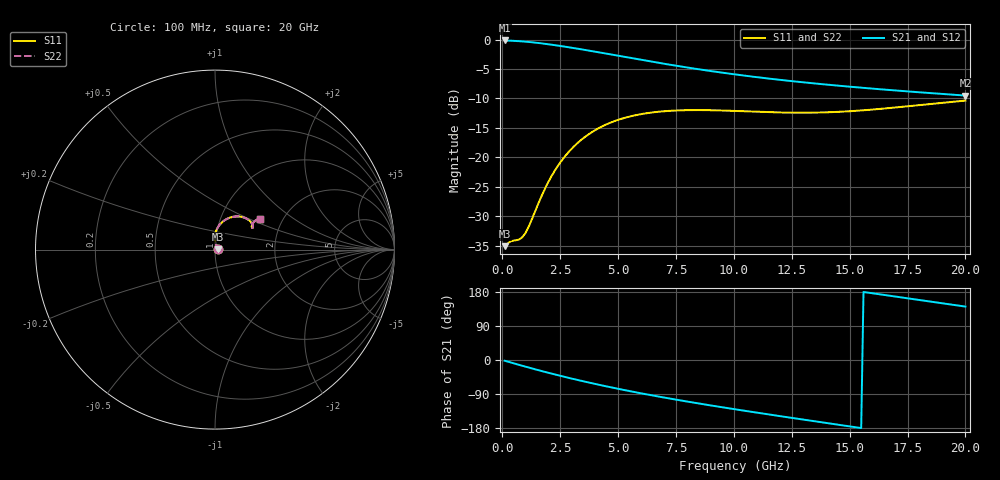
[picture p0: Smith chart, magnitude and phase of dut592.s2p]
! Touchstone file exported from HFSS 2024.1.0
!  File:  C:/UserFiles/LocalFiles/RDL_TSV_Batchsim/temp_RDL_TSV_592_1779759599.aedt
!  Generated:  09:56:24 AM May 26, 2026
!  Design:  RDL_TSV
!  Project:  temp_RDL_TSV_592_1779759599
!  Setup:  Setup1
!  Solution:  Sweep
! Variables:
!  dtsv = 7.2um
!  hbump = 3um
!  htsv = 93.26um
!  ldown = 433.57um
!  lrdl = 431.97um
!  p = 40
!  p1 = 45.01um
!  rhole = 10um
!  subl = 3028.59um
!  t = 450um
!  tdown = 2.61um
!  trdl = 3.49um
!  viad = 10um
!  wdown = 22.47um
!  wrdl = 21.35um
!  xbump = 18um
# GHz S MA R 50.000000
! Terminal data exported
! Port[1] = TM1_1_T1
! Port[2] = TM1_4_T1
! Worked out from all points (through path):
!   200 points, 100 MHz to 20 GHz, reference 50 ohm
!   highest |S21| = -0.16 dB at 100 MHz (marker M1); lowest = -9.5 dB at 20 GHz (marker M2)
!   group delay of S21, straight-line fit = 28.9 ps
!   lowest |S11| = -35.1 dB at 100 MHz (marker M3), VSWR 1.04, Z = 51.8 + j0.253 ohm
!   |S11| at or under -10 dB: start of sweep to end of sweep
!   |S22| runs from -35.1 to -10.3 dB; largest |S21 - S12| = 9.3e-15
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0.1  0.01763 8.0  0.9822 -1.8  0.9822 -1.8  0.01763 8.0
! Gamma 0 0 0 0
! Port Impedance 50 0 50 0
0.3  0.01907 19.2  0.9791 -5.4  0.9791 -5.4  0.01907 19.2
0.7  0.02001 40.1  0.9694 -12.4  0.9694 -12.4  0.02 40.1
0.9  0.0214 54.4  0.9629 -15.9  0.9629 -15.9  0.0214 54.4
1.1  0.02485 68.1  0.9555 -19.3  0.9555 -19.3  0.02485 68.2
1.6  0.04247 87.4  0.9328 -27.6  0.9328 -27.6  0.04249 87.5
1.9  0.05712 90.6  0.917 -32.4  0.917 -32.4  0.05713 90.6
2.2  0.07333 90.5  0.9001 -37.1  0.9001 -37.1  0.07335 90.5
2.8  0.1074 86.1  0.8642 -46.2  0.8642 -46.2  0.1074 86.1
3.5  0.1455 78.3  0.8206 -56.2  0.8206 -56.2  0.1456 78.3
4.2  0.1785 70.1  0.7771 -65.7  0.7771 -65.7  0.1785 70.1
4.9  0.2048 62.4  0.7348 -74.7  0.7348 -74.7  0.2049 62.4
5.8  0.2289 53.6  0.6836 -85.7  0.6836 -85.7  0.2289 53.7
6.8  0.2445 45.6  0.632 -97.0  0.632 -97.0  0.2445 45.7
8.4  0.252 36.5  0.5625 -113.9  0.5625 -113.9  0.2518 36.5
10.1  0.2475 31.2  0.5044 -130.5  0.5044 -130.5  0.2473 31.3
11.7  0.2412 29.9  0.4617 -145.4  0.4617 -145.4  0.2409 30.0
13.4  0.2396 31.1  0.4256 -160.9  0.4256 -160.9  0.2394 31.3
15  0.2463 33.3  0.3979 -175.2  0.3979 -175.2  0.2462 33.6
16.7  0.2619 35.1  0.3733 169.8  0.3733 169.8  0.2621 35.4
18.4  0.2828 35.4  0.3521 154.9  0.3521 154.9  0.2832 35.7
20  0.3033 34.4  0.3347 141.0  0.3347 141.0  0.304 34.7
